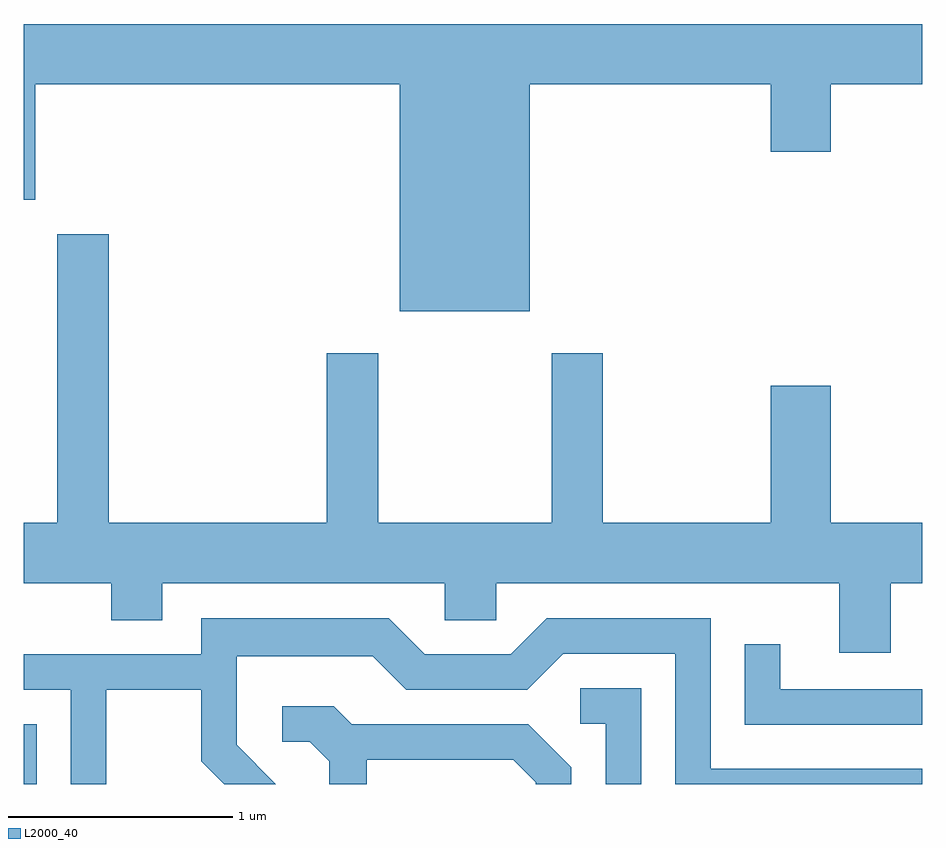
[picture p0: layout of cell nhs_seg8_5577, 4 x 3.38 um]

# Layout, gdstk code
import gdstk
lib = gdstk.Library(unit=1e-6, precision=1e-09)
def R(c, l, rs):  # rectangles x0, y0, x1, y1
    for r in rs: c.add(gdstk.rectangle(r[:2], r[2:], *l))
def P(c, l, *ps):  # polygons
    for p in ps: c.add(gdstk.Polygon(p, *l))
L2000_40 = (2000, 40)

nhs_seg8_5577 = lib.new_cell('nhs_seg8_5577')
R(nhs_seg8_5577, L2000_40, [(351.611,1904.342,351.669,1904.609)])
P(nhs_seg8_5577, L2000_40, [(353.864,1907.456),(354.936,1907.456),(354.936,1907.156),(355.204,1907.156),(355.204,1907.456),(355.611,1907.456),(355.611,1907.724),(351.611,1907.724),(351.611,1906.941),(351.664,1906.941),(351.664,1907.456),(353.286,1907.456),(353.286,1906.446),(353.864,1906.446)],
  [(355.469,1905.236),(355.611,1905.236),(355.611,1905.504),(355.204,1905.504),(355.204,1906.114),(354.936,1906.114),(354.936,1905.504),(354.189,1905.504),(354.189,1906.259),(353.961,1906.259),(353.961,1905.504),(353.189,1905.504),(353.189,1906.259),(352.961,1906.259),(352.961,1905.504),(351.989,1905.504),(351.989,1906.789),(351.761,1906.789),(351.761,1905.504),(351.611,1905.504),(351.611,1905.236),(352.001,1905.236),(352.001,1905.071),(352.229,1905.071),(352.229,1905.236),(353.486,1905.236),(353.486,1905.071),(353.714,1905.071),(353.714,1905.236),(355.241,1905.236),(355.241,1904.926),(355.469,1904.926)],
  [(351.979,1904.761),(352.401,1904.761),(352.401,1904.444),(352.503,1904.342),(352.734,1904.342),(352.559,1904.517),(352.559,1904.911),(353.164,1904.911),(353.314,1904.761),(353.852,1904.761),(354.012,1904.921),(354.511,1904.921),(354.511,1904.342),(355.611,1904.342),(355.611,1904.409),(354.669,1904.409),(354.669,1905.079),(353.939,1905.079),(353.779,1904.919),(353.397,1904.919),(353.237,1905.079),(352.401,1905.079),(352.401,1904.919),(351.611,1904.919),(351.611,1904.761),(351.821,1904.761),(351.821,1904.342),(351.979,1904.342)],
  [(355.611,1904.764),(354.979,1904.764),(354.979,1904.963),(354.821,1904.963),(354.821,1904.606),(355.611,1904.606)],
  [(354.359,1904.769),(354.088,1904.769),(354.088,1904.611),(354.201,1904.611),(354.201,1904.342),(354.359,1904.342)],
  [(353.139,1904.451),(353.789,1904.451),(353.891,1904.349),(353.891,1904.342),(354.049,1904.342),(354.049,1904.417),(353.857,1904.609),(353.072,1904.609),(352.992,1904.689),(352.763,1904.689),(352.763,1904.531),(352.884,1904.531),(352.971,1904.444),(352.971,1904.342),(353.139,1904.342)])

lib.write_gds('nhs_seg8_5577.gds')
